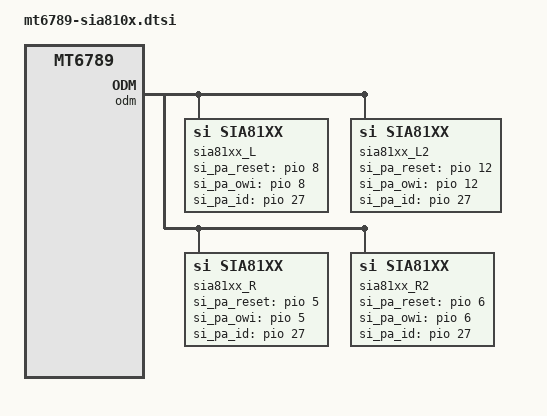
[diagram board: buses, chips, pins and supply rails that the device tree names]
/* Copyright (c) 2018, The Linux Foundation. All rights reserved.
 *
 * This program is free software; you can redistribute it and/or modify
 * it under the terms of the GNU General Public License version 2 and
 * only version 2 as published by the Free Software Foundation.
 *
 * This program is distributed in the hope that it will be useful,
 * but WITHOUT ANY WARRANTY; without even the implied warranty of
 * MERCHANTABILITY or FITNESS FOR A PARTICULAR PURPOSE.  See the
 * GNU General Public License for more details.
 */

&pio {
	sia81xx_gpio_R: sia81xx_gpio_R {
		pins_cmd_dat {
			pinmux = <PINMUX_GPIO5__FUNC_GPIO5>;
			slew-rate = <1>;
			bias-disable;
		};
	};

        sia81xx_gpio_R2: sia81xx_gpio_R2 {
		pins_cmd_dat {
			pinmux = <PINMUX_GPIO6__FUNC_GPIO6>;
			slew-rate = <1>;
			bias-disable;
		};
	};

	sia81xx_gpio_L: sia81xx_gpio_L {
		pins_cmd_dat {
			pinmux = <PINMUX_GPIO8__FUNC_GPIO8>;
			slew-rate = <1>;
			bias-disable;
		};
	};

	sia81xx_gpio_L2: sia81xx_gpio_L2 {
		pins_cmd_dat {
			pinmux = <PINMUX_GPIO12__FUNC_GPIO12>;
			slew-rate = <1>;
			bias-disable;
		};
	};

        sia81xx_id_L: sia81xx_id_L {
                pins_cmd_dat {
                        pinmux = <PINMUX_GPIO27__FUNC_GPIO27>;
                        slew-rate = <1>;
                        bias-pull-up;
                };
        };
};

&odm {
	sia81xx_L: sia81xx@L {
		compatible = "si,sia81xx";
		si,si_pa_type = "sia8100x";
		si,si_pa_reset = <&pio 8 0>;
		si,si_pa_owi = <&pio 8 0>;
		si,si_pa_id = <&pio 27 0>;
		pinctrl-names = "si_pa_gpio","si_pa_id";
		pinctrl-0 = <&sia81xx_gpio_L>;
		pinctrl-1 = <&sia81xx_id_L>;
		si,si_pa_disable_pin = <0>;

		/* the same value share a same task
		 * valid value range : 0 ~ 7 */
		timer_task_hdl = <0>;
		channel_num = <0>;
		owi_mode = <9>;
		en_x_filter = <0>;
		en_dynamic_id = <1>;
		en_dynamic_product = <1>;
		en_dynamic_updata_vdd = <0>;
		en_dynamic_updata_pvdd = <0>;
		dynamic_updata_vdd_port = <0x2>;
	};

	sia81xx_L2: sia81xx@L2 {
		compatible = "si,sia81xx";
		si,si_pa_type = "sia8100x";
		si,si_pa_reset = <&pio 12 0>;
		si,si_pa_owi = <&pio 12 0>;
		si,si_pa_id = <&pio 27 0>;
		pinctrl-names = "si_pa_gpio","si_pa_id";
		pinctrl-0 = <&sia81xx_gpio_L2>;
		pinctrl-1 = <&sia81xx_id_L>;
		si,si_pa_disable_pin = <0>;

		/* the same value share a same task
		 * valid value range : 0 ~ 7 */
		timer_task_hdl = <0>;
		channel_num = <2>;
		owi_mode = <9>;
		en_x_filter = <0>;
		en_dynamic_id = <1>;
		en_dynamic_product = <1>;
		en_dynamic_updata_vdd = <0>;
		en_dynamic_updata_pvdd = <0>;
		dynamic_updata_vdd_port = <0x2>;
	};

	sia81xx_R: sia81xx@R {
		compatible = "si,sia81xx";
		si,si_pa_type = "sia8100x";
		si,si_pa_reset = <&pio 5 0>;
		si,si_pa_owi = <&pio 5 0>;
		si,si_pa_id = <&pio 27 0>;
		pinctrl-names = "si_pa_gpio","si_pa_id";
		pinctrl-0 = <&sia81xx_gpio_R>;
		pinctrl-1 = <&sia81xx_id_L>;
		si,si_pa_disable_pin = <0>;

		/* the same value share a same task
		 * valid value range : 0 ~ 7 */
		timer_task_hdl = <0>;
		channel_num = <1>;
		owi_mode = <9>;
		en_x_filter = <0>;
		en_dynamic_id = <1>;
		en_dynamic_product = <1>;
		en_dynamic_updata_vdd = <0>;
		en_dynamic_updata_pvdd = <0>;
		dynamic_updata_vdd_port = <0x2>;
	};

		sia81xx_R2: sia81xx@R2 {
		compatible = "si,sia81xx";
		si,si_pa_type = "sia8100x";
		si,si_pa_reset = <&pio 6 0>;
		si,si_pa_owi = <&pio 6 0>;
		si,si_pa_id = <&pio 27 0>;
		pinctrl-names = "si_pa_gpio","si_pa_id";
		pinctrl-0 = <&sia81xx_gpio_R2>;
		pinctrl-1 = <&sia81xx_id_L>;
		si,si_pa_disable_pin = <0>;

		/* the same value share a same task
		 * valid value range : 0 ~ 7 */
		timer_task_hdl = <0>;
		channel_num = <3>;
		owi_mode = <9>;
		en_x_filter = <0>;
		en_dynamic_id = <1>;
		en_dynamic_product = <1>;
		en_dynamic_updata_vdd = <0>;
		en_dynamic_updata_pvdd = <0>;
		dynamic_updata_vdd_port = <0x2>;
	};
};

&sound {
	si,sia81xx-max-num = <4>;
	si,sia81xx-aux-devs = <&sia81xx_L>,<&sia81xx_R>,<&sia81xx_L2>,<&sia81xx_R2>;
	si,sia81xx-aux-devs-prefix = "SpkrLeft_One","SpkrRight_One","SpkrLeft_Two","SpkrRight_Two";
};

